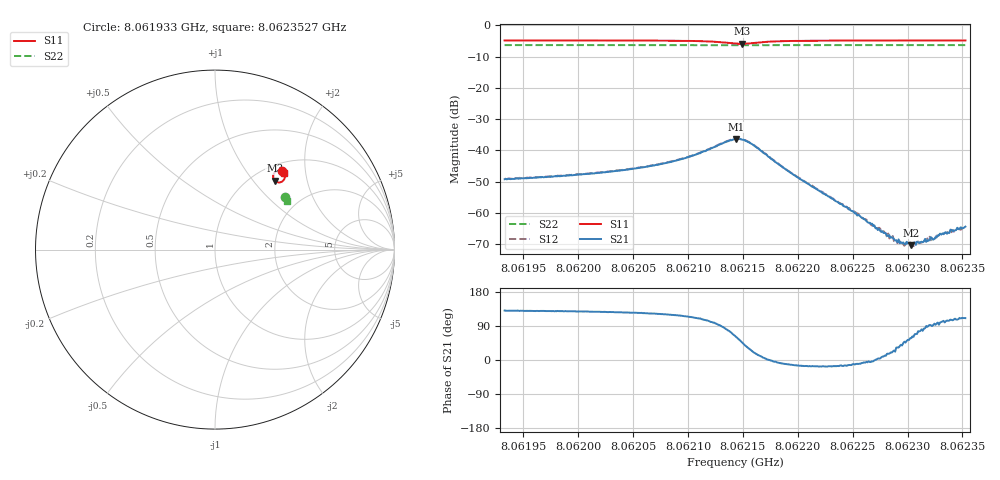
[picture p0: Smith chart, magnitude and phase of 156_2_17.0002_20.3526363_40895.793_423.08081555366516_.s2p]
#  HZ  S  RI  R  50.00
! Rohde & Schwarz Vector Network Analyzer
! Rohde-Schwarz,ZNB20-2Port,1311601062101988,3.16
! Created: UTC 3/20/2024, 10:59:03 PM
! freq[Hz]  re:S11  im:S11  re:S21  im:S21  re:S12  im:S12  re:S22  im:S22
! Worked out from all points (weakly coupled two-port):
!   401 points, 8.061933 GHz to 8.0623527 GHz, reference 50 ohm
!   highest |S21| = -36.30 dB at 8.0621439 GHz (marker M1); lowest = -70.3 dB at 8.0623034 GHz (marker M2)
!   lowest |S11| = -5.9 dB at 8.0621491 GHz (marker M3), VSWR 3.07, Z = 62.6 + j64.9 ohm
!   |S11| at or under -10 dB: nowhere
!   |S22| runs from -6.3 to -6.3 dB; largest |S21 - S12| = 0.0012
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8.06193298e9  0.3719 0.4395  -0.00225 0.00262  -0.00215 0.00283  0.3874 0.2922
8.06200329e9  0.378 0.4335  -0.00257 0.00326  -0.00234 0.00345  0.3899 0.2887
8.06204106e9  0.3818 0.4289  -0.0028 0.00395  -0.00262 0.00413  0.3912 0.2867
8.06207359e9  0.3856 0.4225  -0.00311 0.00508  -0.00289 0.00532  0.3923 0.2849
8.06210192e9  0.389 0.4111  -0.00322 0.00732  -0.00281 0.00759  0.3932 0.2831
8.06214284e9  0.3506 0.375  0.00679 0.0137  0.00746 0.0132  0.3921 0.2803
8.06214389e9  0.3473 0.3756  0.00751 0.0133  0.00833 0.0129  0.392 0.2804
8.06214914e9  0.3331 0.3842  0.0102 0.0108  0.011 0.0104  0.3918 0.2805
8.06215858e9  0.3241 0.4098  0.0116 0.00495  0.012 0.0043  0.3921 0.2814
8.06218901e9  0.3519 0.4392  0.0049 -0.000931  0.00491 -0.00123  0.3947 0.2809
8.06221315e9  0.364 0.4389  0.00253 -0.000731  0.00258 -0.000934  0.396 0.2795
8.06225302e9  0.3736 0.4356  0.000965 -0.000179  0.000979 -0.000247  0.3975 0.2774
8.06226876e9  0.3761 0.4341  0.000618 -3.67e-05  0.00064 -4.98e-05  0.3982 0.2766
8.0622803e9  0.3777 0.4334  0.000459 9.3e-05  0.00047 4.88e-05  0.3985 0.276
8.06228345e9  0.378 0.4332  0.000421 0.000128  0.000383 8.26e-05  0.3987 0.2757
8.06229499e9  0.3794 0.4322  0.000257 0.000203  0.000297 0.000177  0.3991 0.2753
8.06230339e9  0.3802 0.4316  0.000164 0.000259  0.000166 0.000275  0.3994 0.2748
8.06231283e9  0.3812 0.4309  5.47e-05 0.000342  0.000107 0.000313  0.3998 0.2743
8.06231808e9  0.3818 0.4306  1.41e-05 0.000365  2.49e-05 0.000389  0.3998 0.2739
8.06232437e9  0.3822 0.4301  -3.95e-05 0.000382  6.82e-06 0.000383  0.4001 0.2738
8.06232962e9  0.3828 0.4297  -7.1e-05 0.000461  -4.42e-05 0.00044  0.4003 0.2734
8.0623527e9  0.3847 0.4284  -0.000211 0.000565  -0.000202 0.000548  0.4011 0.2723
